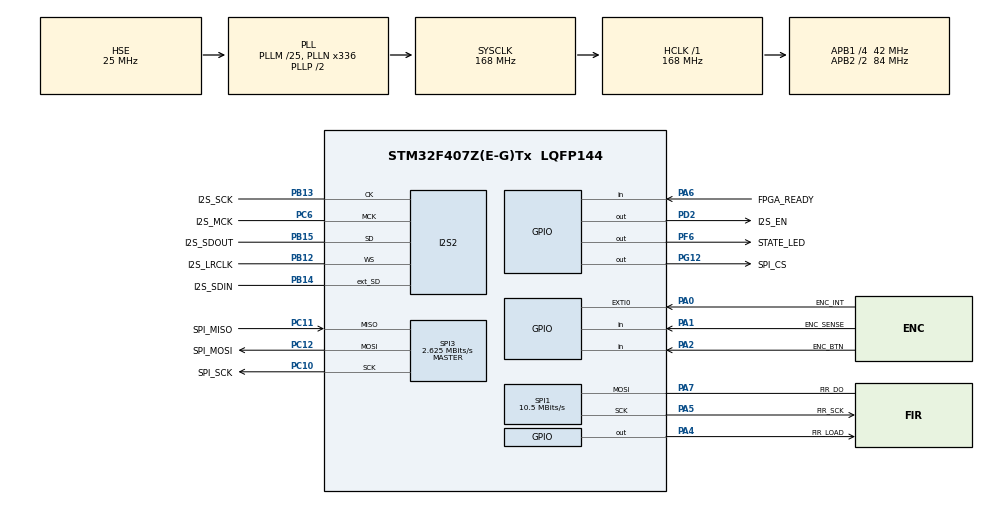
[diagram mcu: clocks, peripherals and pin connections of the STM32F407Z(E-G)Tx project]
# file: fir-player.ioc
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Mcu.Family=STM32F4
Dma.SPI1_TX.4.MemInc=DMA_MINC_ENABLE
Dma.I2S2_EXT_RX.1.PeriphInc=DMA_PINC_DISABLE
PA2.GPIO_PuPd=GPIO_PULLUP
Dma.SPI2_TX.0.MemInc=DMA_MINC_ENABLE
PH0-OSC_IN.Signal=RCC_OSC_IN
RCC.CortexFreq_Value=168000000
SPI3.Direction=SPI_DIRECTION_2LINES
SPI3.VirtualType=VM_MASTER
SPI1.VirtualType=VM_MASTER
Dma.SPI3_TX.3.MemDataAlignment=DMA_MDATAALIGN_BYTE
PG12.PinState=GPIO_PIN_SET
Dma.SPI3_RX.2.Instance=DMA1_Stream0
PC10.Signal=SPI3_SCK
PC12.Signal=SPI3_MOSI
PB14.GPIO_Label=I2S_SDIN
PC6.GPIO_Label=I2S_MCK
Dma.SPI3_RX.2.Direction=DMA_PERIPH_TO_MEMORY
PA6.GPIO_Label=FPGA_READY
PB13.GPIO_Label=I2S_SCK
NVIC.DMA1_Stream4_IRQn=true\:0\:0\:false\:false\:true\:false\:true
PB13.Signal=I2S2_CK
PB15.Signal=I2S2_SD
Dma.SPI2_TX.0.Instance=DMA1_Stream4
PF6.GPIO_Label=STATE_LED
Dma.SPI3_RX.2.PeriphDataAlignment=DMA_PDATAALIGN_BYTE
RCC.SYSCLKSource=RCC_SYSCLKSOURCE_PLLCLK
ProjectManager.StackSize=0x400
Dma.SPI2_TX.0.MemDataAlignment=DMA_MDATAALIGN_HALFWORD
Dma.I2S2_EXT_RX.1.Instance=DMA1_Stream3
SPI3.CLKPolarity=SPI_POLARITY_LOW
SPI1.Direction=SPI_DIRECTION_1LINE
RCC.HCLKFreq_Value=168000000
RCC.APB2TimFreq_Value=168000000
SPI1.CalculateBaudRate=10.5 MBits/s
Dma.SPI2_TX.0.Mode=DMA_CIRCULAR
PA1.GPIO_PuPd=GPIO_PULLUP
RCC.AHBFreq_Value=168000000
PH0-OSC_IN.Mode=HSE-External-Oscillator
RCC.HSE_VALUE=25000000
Dma.SPI3_TX.3.PeriphInc=DMA_PINC_DISABLE
PB12.GPIO_Label=I2S_LRCLK
Dma.SPI1_TX.4.FIFOMode=DMA_FIFOMODE_DISABLE
PA6.GPIO_PuPd=GPIO_PULLUP
Dma.SPI3_TX.3.Priority=DMA_PRIORITY_HIGH
PB14.Mode=Full_Duplex_Master
PC11.GPIO_Label=SPI_MISO
SPI1.DataSize=SPI_DATASIZE_8BIT
Dma.I2S2_EXT_RX.1.MemInc=DMA_MINC_ENABLE
Dma.SPI1_TX.4.MemDataAlignment=DMA_MDATAALIGN_BYTE
Dma.SPI3_RX.2.FIFOMode=DMA_FIFOMODE_DISABLE
PH1-OSC_OUT.Mode=HSE-External-Oscillator
Mcu.Package=LQFP144
PA6.Signal=GPIO_Input
PB12.Mode=Full_Duplex_Master
SPI3.Mode=SPI_MODE_MASTER
Dma.SPI1_TX.4.Direction=DMA_MEMORY_TO_PERIPH
PA2.GPIO_Label=ENC_BTN
Dma.I2S2_EXT_RX.1.PeriphDataAlignment=DMA_PDATAALIGN_HALFWORD
PC11.Mode=Full_Duplex_Master
Dma.SPI3_RX.2.PeriphInc=DMA_PINC_DISABLE
Dma.SPI2_TX.0.PeriphInc=DMA_PINC_DISABLE
RCC.APB2CLKDivider=RCC_HCLK_DIV2
Dma.SPI3_RX.2.Priority=DMA_PRIORITY_HIGH
Dma.Request2=SPI3_RX
Dma.Request1=I2S2_EXT_RX
RCC.APB1TimFreq_Value=84000000
Dma.Request4=SPI1_TX
Dma.I2S2_EXT_RX.1.Priority=DMA_PRIORITY_LOW
Dma.Request3=SPI3_TX
NVIC.DMA1_Stream0_IRQn=true\:0\:0\:false\:false\:true\:false\:true
PB13.Mode=Full_Duplex_Master
Dma.Request0=SPI2_TX
SPI1.BaudRatePrescaler=SPI_BAUDRATEPRESCALER_8
PA4.GPIO_Label=FIR_LOAD
PA5.Mode=Simplex_Bidirectional_Master
PG12.Signal=GPIO_Output
Dma.SPI3_TX.3.Mode=DMA_NORMAL
Dma.SPI3_TX.3.MemInc=DMA_MINC_ENABLE
RCC.PLLSourceVirtual=RCC_PLLSOURCE_HSE
I2S2.AudioFreq=I2S_AUDIOFREQ_44K
PA7.Mode=Simplex_Bidirectional_Master
I2S2.Instance=SPI$Index
PC10.GPIO_Label=SPI_SCK
PC11.Signal=SPI3_MISO
Dma.SPI1_TX.4.PeriphDataAlignment=DMA_PDATAALIGN_BYTE
PC6.Signal=I2S2_MCK
PC10.Mode=Full_Duplex_Master
RCC.APB1CLKDivider=RCC_HCLK_DIV4
Dma.SPI1_TX.4.Instance=DMA2_Stream3
PA0-WKUP.GPIO_ModeDefaultEXTI=GPIO_MODE_IT_FALLING
PA0-WKUP.GPIO_Label=ENC_INT
PA0-WKUP.Signal=GPXTI0
Dma.I2S2_EXT_RX.1.Mode=DMA_CIRCULAR
PF6.Signal=GPIO_Output
ProjectManager.TargetToolchain=MDK-ARM V5
NVIC.DMA1_Stream5_IRQn=true\:0\:0\:false\:false\:true\:false\:true
PC6.Mode=Master_Clock_Activated
I2S2.VirtualMode=I2S_MODE_MASTER
NVIC.DMA2_Stream3_IRQn=true\:0\:0\:false\:false\:true\:false\:true
RCC.LSE_VALUE=32768
PA1.Signal=GPIO_Input
PB14.Signal=I2S2_ext_SD
PA5.Signal=SPI1_SCK
Dma.I2S2_EXT_RX.1.FIFOMode=DMA_FIFOMODE_DISABLE
PC12.Mode=Full_Duplex_Master
board=custom
Dma.SPI3_TX.3.FIFOMode=DMA_FIFOMODE_DISABLE
RCC.VCOOutputFreq_Value=336000000
PB15.Mode=Full_Duplex_Master
Dma.SPI3_TX.3.Direction=DMA_MEMORY_TO_PERIPH
RCC.APB2Freq_Value=84000000
SPI3.CalculateBaudRate=2.625 MBits/s
PB15.GPIO_Label=I2S_SDOUT
SPI1.Mode=SPI_MODE_MASTER
Dma.SPI2_TX.0.PeriphDataAlignment=DMA_PDATAALIGN_HALFWORD
SPI3.BaudRatePrescaler=SPI_BAUDRATEPRESCALER_16
PA1.GPIO_Label=ENC_SENSE
Dma.SPI3_TX.3.PeriphDataAlignment=DMA_PDATAALIGN_BYTE
PH1-OSC_OUT.Signal=RCC_OSC_OUT
Dma.SPI3_RX.2.Mode=DMA_NORMAL
Mcu.Name=STM32F407Z(E-G)Tx
Dma.SPI2_TX.0.FIFOMode=DMA_FIFOMODE_DISABLE
PA2.Signal=GPIO_Input
I2S2.FullDuplexMode=I2S_FULLDUPLEXMODE_ENABLE
Dma.SPI1_TX.4.PeriphInc=DMA_PINC_DISABLE
RCC.48MHZClocksFreq_Value=84000000
Dma.SPI1_TX.4.Priority=DMA_PRIORITY_LOW
NVIC.EXTI0_IRQn=true\:0\:0\:false\:false\:true\:true\:true
PA4.Signal=GPIO_Output
Dma.SPI2_TX.0.Priority=DMA_PRIORITY_HIGH
RCC.SYSCLKFreq_VALUE=168000000
PA7.GPIO_Label=FIR_DO
PA5.GPIO_Label=FIR_SCK
I2S2.ErrorAudioFreq=0.19 %
Dma.SPI3_RX.2.MemInc=DMA_MINC_ENABLE
PC12.GPIO_Label=SPI_MOSI
ProjectManager.HeapSize=0x200
Dma.SPI1_TX.4.Mode=DMA_NORMAL
PG12.GPIO_Label=SPI_CS
RCC.HSI_VALUE=16000000
Dma.I2S2_EXT_RX.1.Direction=DMA_PERIPH_TO_MEMORY
NVIC.PriorityGroup=NVIC_PRIORITYGROUP_4
RCC.PLLM=25
RCC.PLLN=336
Dma.SPI3_TX.3.Instance=DMA1_Stream5
PA0-WKUP.GPIO_PuPd=GPIO_PULLUP
NVIC.DMA1_Stream3_IRQn=true\:0\:0\:false\:false\:true\:false\:true
Dma.SPI3_RX.2.MemDataAlignment=DMA_MDATAALIGN_BYTE
PD2.Signal=GPIO_Output
Dma.SPI2_TX.0.Direction=DMA_MEMORY_TO_PERIPH
Dma.I2S2_EXT_RX.1.MemDataAlignment=DMA_MDATAALIGN_HALFWORD
RCC.APB1Freq_Value=42000000
RCC.PLLI2SR=7
I2S2.RealAudioFreq=44.084 KHz
I2S2.Standard=I2S_STANDARD_MSB
RCC.PLLI2SN=316
PD2.GPIO_Label=I2S_EN
PB12.Signal=I2S2_WS
PA7.Signal=SPI1_MOSI

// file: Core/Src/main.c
/* USER CODE BEGIN Header */
/**
  ******************************************************************************
  * @file           : main.c
  * @brief          : Main program body
  ******************************************************************************
  * @attention
  *
  * <h2><center>&copy; Copyright (c) 2021 STMicroelectronics.
  * All rights reserved.</center></h2>
  *
  * This software component is licensed by ST under BSD 3-Clause license,
  * the "License"; You may not use this file except in compliance with the
  * License. You may obtain a copy of the License at:
  *                        opensource.org/licenses/BSD-3-Clause
  *
  ******************************************************************************
  */
/* USER CODE END Header */
#include "main.h"
#include "dma.h"
#include "i2s.h"
#include "spi.h"
#include "gpio.h"

/* USER CODE BEGIN Includes */
#include <stdbool.h>
#include "audio.h"
#include "fir.h"
#include "impulse.h"
#include "ui.h"
#include "amp.h"
/* USER CODE END Includes */

/* USER CODE BEGIN PD */
#define WaitReady() while ((FPGA_READY_GPIO_Port->IDR & FPGA_READY_Pin) == FPGA_READY_Pin)
/* USER CODE END PD */

void SystemClock_Config(void);

int main(void)
{
  /* USER CODE BEGIN 1 */
  int16_t * pBuff;
  /* USER CODE END 1 */

  /* MCU Configuration--------------------------------------------------------*/

  /* Reset of all peripherals, Initializes the Flash interface and the Systick. */
  HAL_Init();

  /* Configure the system clock */
  SystemClock_Config();

  /* Initialize all configured peripherals */
  MX_GPIO_Init();
  MX_DMA_Init();
  MX_I2S2_Init();
  MX_SPI3_Init();
  MX_SPI1_Init();
  /* USER CODE BEGIN 2 */
  FIR_Init();
  AUDIO_Init();
  HAL_Delay(100);
  WaitReady();
  HAL_Delay(300);
  FIR_Load((const uint8_t *)IMPULSE_Impulses[0], IMPULSE_SIZE);
  while (!FIR_impulseReady) FIR_ResumeLoad();
  AUDIO_Start();
  /* USER CODE END 2 */

  /* Infinite loop */
  /* USER CODE BEGIN WHILE */
  while (1)
  {
    if (AUDIO_firstBufferHalfReady)
    {
      AMP_Process(&AUDIO_circularBuffer[1]);
      FIR_Transfer(&AUDIO_circularBuffer[1]);
      pBuff = AUDIO_circularBuffer;
      AUDIO_OnFirstBufferHalfProcessed();
    }
    else if (AUDIO_secondBufferHalfReady)
    {
      AMP_Process(&AUDIO_circularBuffer[AUDIO_CIRCULAR_BUFFER_HALF_SIZE + 1]);
      FIR_Transfer(&AUDIO_circularBuffer[AUDIO_CIRCULAR_BUFFER_HALF_SIZE + 1]);
      pBuff = &AUDIO_circularBuffer[AUDIO_CIRCULAR_BUFFER_HALF_SIZE];
      AUDIO_OnSecondBufferHalfProcessed();
    }
    else if (FIR_dataReady)
    {
      FIR_Fill(pBuff);
      FIR_OnDataProcessed();
    }
    else
    {
      UI_Update();
    }
    /* USER CODE END WHILE */

  }
}

void SystemClock_Config(void)
{
  RCC_OscInitTypeDef RCC_OscInitStruct = {0};
  RCC_ClkInitTypeDef RCC_ClkInitStruct = {0};
  RCC_PeriphCLKInitTypeDef PeriphClkInitStruct = {0};

  /** Configure the main internal regulator output voltage
  */
  __HAL_RCC_PWR_CLK_ENABLE();
  __HAL_PWR_VOLTAGESCALING_CONFIG(PWR_REGULATOR_VOLTAGE_SCALE1);
  /** Initializes the RCC Oscillators according to the specified parameters
  * in the RCC_OscInitTypeDef structure.
  */
  RCC_OscInitStruct.OscillatorType = RCC_OSCILLATORTYPE_HSE;
  RCC_OscInitStruct.HSEState = RCC_HSE_ON;
  RCC_OscInitStruct.PLL.PLLState = RCC_PLL_ON;
  RCC_OscInitStruct.PLL.PLLSource = RCC_PLLSOURCE_HSE;
  RCC_OscInitStruct.PLL.PLLM = 25;
  RCC_OscInitStruct.PLL.PLLN = 336;
  RCC_OscInitStruct.PLL.PLLP = RCC_PLLP_DIV2;
  RCC_OscInitStruct.PLL.PLLQ = 4;
  if (HAL_RCC_OscConfig(&RCC_OscInitStruct) != HAL_OK)
  {
    Error_Handler();
  }
  /** Initializes the CPU, AHB and APB buses clocks
  */
  RCC_ClkInitStruct.ClockType = RCC_CLOCKTYPE_HCLK|RCC_CLOCKTYPE_SYSCLK
                              |RCC_CLOCKTYPE_PCLK1|RCC_CLOCKTYPE_PCLK2;
  RCC_ClkInitStruct.SYSCLKSource = RCC_SYSCLKSOURCE_PLLCLK;
  RCC_ClkInitStruct.AHBCLKDivider = RCC_SYSCLK_DIV1;
  RCC_ClkInitStruct.APB1CLKDivider = RCC_HCLK_DIV4;
  RCC_ClkInitStruct.APB2CLKDivider = RCC_HCLK_DIV2;

  if (HAL_RCC_ClockConfig(&RCC_ClkInitStruct, FLASH_LATENCY_5) != HAL_OK)
  {
    Error_Handler();
  }
  PeriphClkInitStruct.PeriphClockSelection = RCC_PERIPHCLK_I2S;
  PeriphClkInitStruct.PLLI2S.PLLI2SN = 316;
  PeriphClkInitStruct.PLLI2S.PLLI2SR = 7;
  if (HAL_RCCEx_PeriphCLKConfig(&PeriphClkInitStruct) != HAL_OK)
  {
    Error_Handler();
  }
}

void Error_Handler(void)
{
}

/************************ (C) COPYRIGHT STMicroelectronics *****END OF FILE****/
